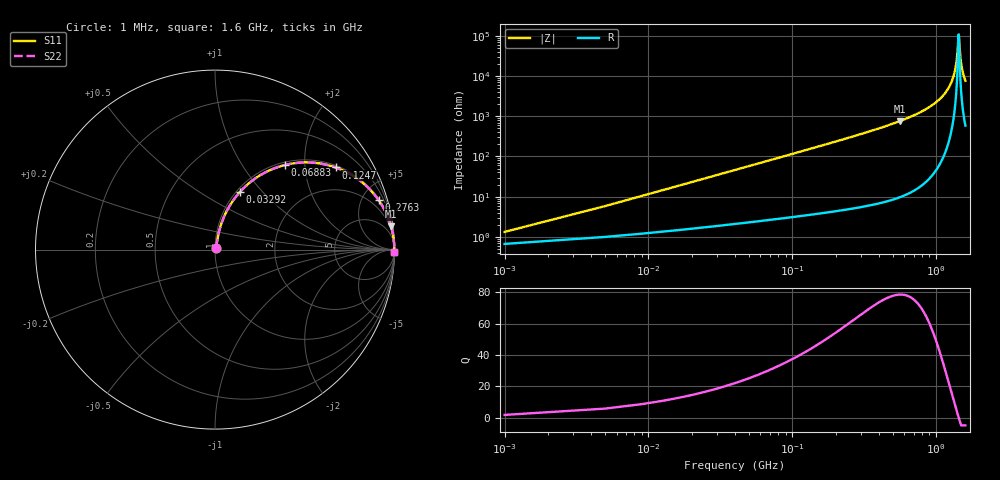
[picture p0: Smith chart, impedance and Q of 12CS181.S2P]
! Coilcraft 1206CS-181 Chip Inductor
! 29 July 2002
# MHZ S MA R 50
!Freq  MagS11  AngS11  MagS21  AngS21  MagS12  AngS12  MagS22  AngS22
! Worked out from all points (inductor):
!   402 points, 1 MHz to 1.6 GHz, reference 50 ohm
!   read as one part in series: L = 183 nH near 8.98 MHz
!   highest Q = 78.6 at 559.6 MHz (marker M1), where L = 216 nH
!   self-resonance near 1.433 GHz
!   S11 on the Smith chart (normalised r, x): 1 MHz: 1.01, +0.02; 32.92 MHz: 1.04, +0.76; 68.83 MHz: 1.05, +1.59; 124.7 MHz: 1.07, +2.89; 276.3 MHz: 1.10, +6.60; 1.6 GHz: open
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1  0.0132 59.2  0.9933 -0.7  0.9933 -0.7  0.0132 59.2
12.97  0.1462 76.4  0.9761 -8.4  0.9761 -8.4  0.1462 76.4
20.95  0.2312 72.8  0.9575 -13.3  0.9575 -13.3  0.2312 72.8
32.92  0.3487 66.7  0.9196 -20.4  0.9196 -20.4  0.3487 66.7
68.83  0.6119 50.4  0.771 -37.7  0.771 -37.7  0.6119 50.4
124.69  0.8133 34.2  0.5629 -54.4  0.5629 -54.4  0.8133 34.2
184.54  0.9007 24.7  0.4174 -64.2  0.4174 -64.2  0.9007 24.7
268.33  0.9501 17.3  0.2972 -71.8  0.2972 -71.8  0.9501 17.3
276.31  0.9528 16.8  0.2888 -72.3  0.2888 -72.3  0.9528 16.8
535.66  0.9886 7.9  0.1382 -81.3  0.1382 -81.3  0.9886 7.9
559.6  0.9898 7.5  0.1305 -81.8  0.1305 -81.8  0.9898 7.5
802.99  0.9962 4.3  0.07422 -84.9  0.07422 -84.9  0.9962 4.3
1070.32  0.9985 2.1  0.03615 -86.5  0.03615 -86.5  0.9985 2.1
1229.92  0.999 1.1  0.01894 -86.3  0.01894 -86.3  0.999 1.1
1333.66  0.9991 0.5  0.009104 -83.9  0.009104 -83.9  0.9991 0.5
1389.52  0.9991 0.2  0.004191 -77.3  0.004191 -77.3  0.9991 0.2
1437.4  0.9991 -0.0  0.0009189 0.2  0.0009189 0.2  0.9991 -0.0
1445.38  0.9991 -0.0  0.001141 36.1  0.001141 36.1  0.9991 -0.0
1473.31  0.9991 -0.2  0.003129 72.5  0.003129 72.5  0.9991 -0.2
1497.25  0.999 -0.3  0.005025 78.9  0.005025 78.9  0.999 -0.3
1541.14  0.999 -0.5  0.008488 83.0  0.008488 83.0  0.999 -0.5
1600  0.9989 -0.7  0.01302 84.9  0.01302 84.9  0.9989 -0.7
